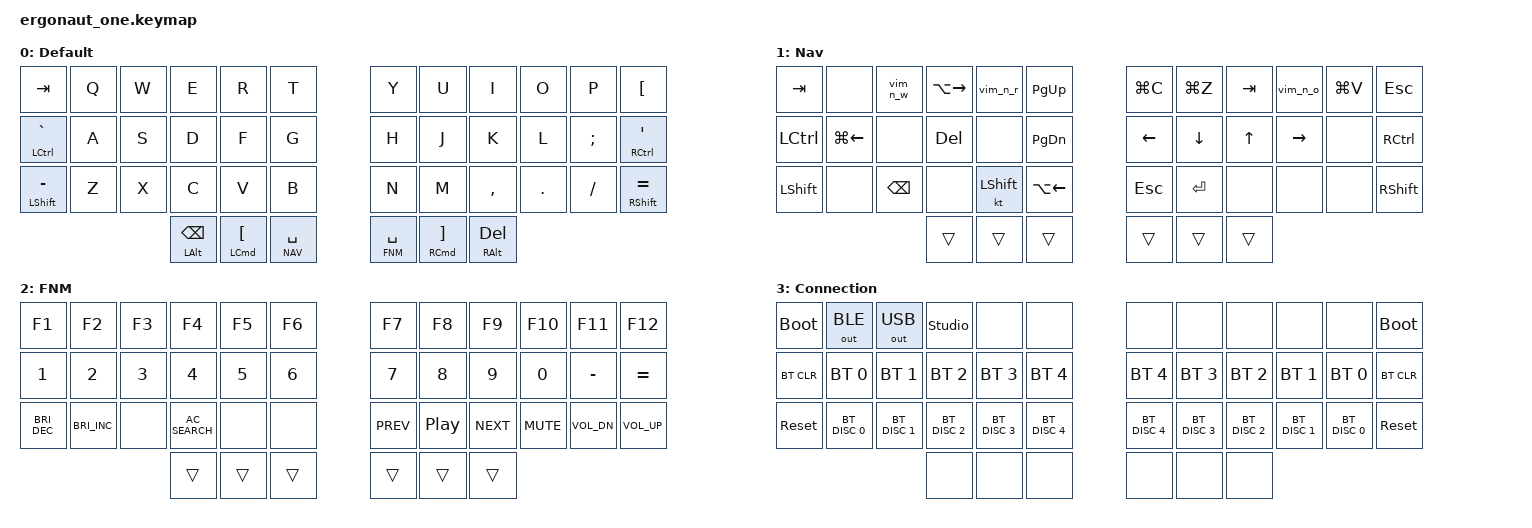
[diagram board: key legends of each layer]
#include <behaviors.dtsi>
#include <dt-bindings/zmk/keys.h>
#include <dt-bindings/zmk/bt.h>
#include <dt-bindings/zmk/outputs.h>

#define DEF 0
#define NAV 1
#define FNM 2
#define CON 3

&lt {
    quick-tap-ms = <200>;
};

&mt {
    quick-tap-ms = <200>;
};

/ {
    combos {
        compatible = "zmk,combos";
        combo_con_layer_l {
            layers = <DEF>;
            key-positions = <36 37 38>;
            bindings = <&mo CON>;
        };
        combo_con_layer_r {
            layers = <DEF>;
            key-positions = <39 40 41>;
            bindings = <&mo CON>;
        };
    };

    macros {
        vim_n_w: vim_n_w {
            compatible = "zmk,behavior-macro";
            #binding-cells = <0>;
            bindings = <&macro_tap &kp LA(RIGHT) &kp RIGHT>;
        };
        vim_n_r: vim_n_r {
            compatible = "zmk,behavior-macro";
            #binding-cells = <0>;
            bindings
                = <&macro_press &kp LSHFT>
                , <&macro_tap &kp LEFT>
                , <&macro_release &kp LSHFT>
                ;
        };
        vim_n_o: vim_n_o {
            compatible = "zmk,behavior-macro";
            #binding-cells = <0>;
            bindings = <&macro_tap &kp LG(RIGHT) &kp RET>;
        };
    };

    keymap {
        compatible = "zmk,keymap";

        default_layer {
            display-name = "Default";
            bindings = <
&kp TAB         &kp Q           &kp W           &kp E           &kp R           &kp T                   &kp Y           &kp U           &kp I           &kp O           &kp P           &kp LBKT
&mt LCTRL GRAVE &kp A           &kp S           &kp D           &kp F           &kp G                   &kp H           &kp J           &kp K           &kp L           &kp SEMI        &mt RCTRL SQT
&mt LSHFT MINUS &kp Z           &kp X           &kp C           &kp V           &kp B                   &kp N           &kp M           &kp COMMA       &kp DOT         &kp FSLH        &mt RSHFT EQUAL
                                                &mt LALT BSPC   &mt LCMD LBKT   &lt NAV SPACE           &lt FNM SPACE   &mt RCMD RBKT   &mt RALT DEL
            >;
        };

        nav_layer {
            display-name = "Nav";
            bindings = <
&kp TAB         &none           &vim_n_w        &kp LA(RIGHT)   &vim_n_r        &kp PG_UP               &kp LG(C)       &kp LG(Z)       &kp TAB         &vim_n_o        &kp LG(V)       &kp ESC
&kp LCTRL       &kp LG(LEFT)    &none           &kp DEL         &none           &kp PG_DN               &kp LEFT        &kp DOWN        &kp UP          &kp RIGHT       &none           &kp RCTRL
&kp LSHFT       &none           &kp BSPC        &none           &kt LSHFT       &kp LA(LEFT)            &kp ESC         &kp RET         &none           &none           &none           &kp RSHFT
                                                &trans          &trans          &trans                  &trans          &trans          &trans
            >;
        };

        fnm_layer {
            display-name = "FNM";
            bindings = <
&kp F1          &kp F2          &kp F3          &kp F4          &kp F5          &kp F6                  &kp F7          &kp F8          &kp F9          &kp F10         &kp F11         &kp F12
&kp N1          &kp N2          &kp N3          &kp N4          &kp N5          &kp N6                  &kp N7          &kp N8          &kp N9          &kp N0          &kp MINUS       &kp EQUAL
&kp C_BRI_DEC   &kp C_BRI_INC   &none           &kp C_AC_SEARCH &none           &none                   &kp C_PREV      &kp C_PP        &kp C_NEXT      &kp C_MUTE      &kp C_VOL_DN    &kp C_VOL_UP
                                                &trans          &trans          &trans                  &trans          &trans          &trans
            >;
        };

        connection_layer {
            display-name = "Connection";
            bindings = <
&bootloader     &out OUT_BLE    &out OUT_USB    &studio_unlock  &none           &none                   &none           &none           &none           &none           &none           &bootloader
&bt BT_CLR      &bt BT_SEL 0    &bt BT_SEL 1    &bt BT_SEL 2    &bt BT_SEL 3    &bt BT_SEL 4            &bt BT_SEL 4    &bt BT_SEL 3    &bt BT_SEL 2    &bt BT_SEL 1    &bt BT_SEL 0    &bt BT_CLR
&sys_reset      &bt BT_DISC 0   &bt BT_DISC 1   &bt BT_DISC 2   &bt BT_DISC 3   &bt BT_DISC 4           &bt BT_DISC 4   &bt BT_DISC 3   &bt BT_DISC 2   &bt BT_DISC 1   &bt BT_DISC 0   &sys_reset
                                                &none           &none           &none                   &none           &none           &none
            >;
        };
    };
};
